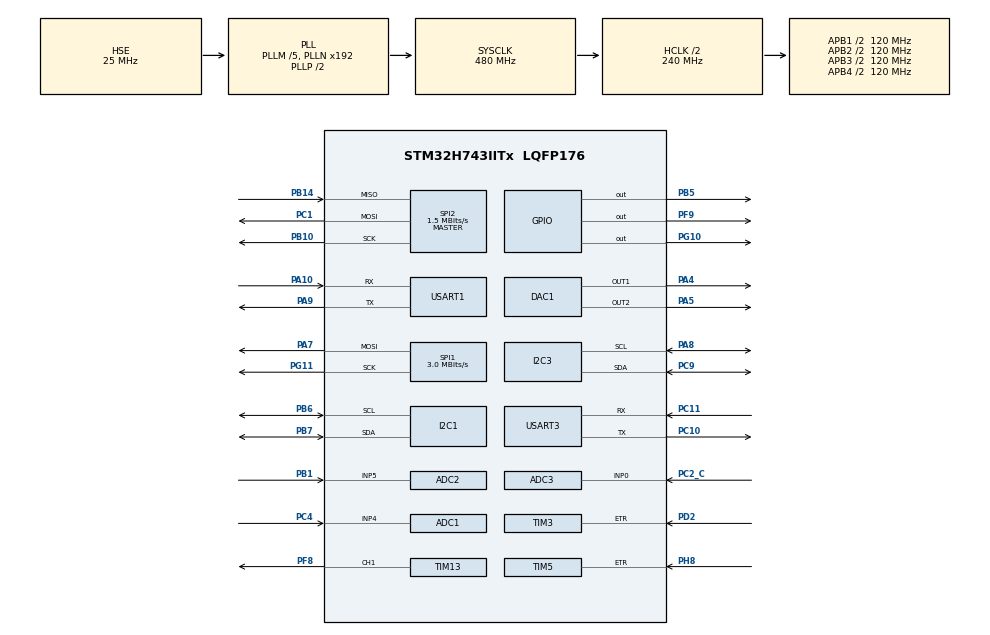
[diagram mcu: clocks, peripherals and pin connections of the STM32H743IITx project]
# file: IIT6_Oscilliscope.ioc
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ADC1.Channel-1\#ChannelRegularConversion=ADC_CHANNEL_4
ADC1.ClockPrescaler=ADC_CLOCK_ASYNC_DIV2
ADC1.ConversionDataManagement=ADC_CONVERSIONDATA_DMA_ONESHOT
ADC1.ExternalTrigConv=ADC_EXTERNALTRIG_T4_TRGO
ADC1.NbrOfConversionFlag=1
ADC1.OffsetNumber-1\#ChannelRegularConversion=ADC_OFFSET_NONE
ADC1.OffsetSignedSaturation-1\#ChannelRegularConversion=DISABLE
ADC1.Rank-1\#ChannelRegularConversion=1
ADC1.SamplingTime-1\#ChannelRegularConversion=ADC_SAMPLETIME_1CYCLE_5
ADC1.master=1
ADC2.Channel-4\#ChannelRegularConversion=ADC_CHANNEL_5
ADC2.ClockPrescaler=ADC_CLOCK_ASYNC_DIV2
ADC2.ConversionDataManagement=ADC_CONVERSIONDATA_DMA_ONESHOT
ADC2.ExternalTrigConv=ADC_EXTERNALTRIG_T4_TRGO
ADC2.NbrOfConversionFlag=1
ADC2.OffsetNumber-4\#ChannelRegularConversion=ADC_OFFSET_NONE
ADC2.OffsetSignedSaturation-4\#ChannelRegularConversion=DISABLE
ADC2.Rank-4\#ChannelRegularConversion=1
ADC2.SamplingTime-4\#ChannelRegularConversion=ADC_SAMPLETIME_1CYCLE_5
ADC3.Channel-0\#ChannelRegularConversion=ADC_CHANNEL_0
ADC3.NbrOfConversionFlag=1
ADC3.OffsetNumber-0\#ChannelRegularConversion=ADC_OFFSET_NONE
ADC3.OffsetSignedSaturation-0\#ChannelRegularConversion=DISABLE
ADC3.Rank-0\#ChannelRegularConversion=1
ADC3.SamplingTime-0\#ChannelRegularConversion=ADC_SAMPLETIME_1CYCLE_5
CORTEX_M7.default_mode_Activation=1
DAC1.DAC1_OutputBuffer-DAC_OUT1=DAC_OUTPUTBUFFER_DISABLE
DAC1.DAC2_OutputBuffer-DAC_OUT2=DAC_OUTPUTBUFFER_DISABLE
DAC1.DAC_Channel-DAC_OUT1=DAC_CHANNEL_1
DAC1.DAC_Channel-DAC_OUT2=DAC_CHANNEL_2
DAC1.DAC_Trigger-DAC_OUT1=DAC_TRIGGER_T6_TRGO
DAC1.DAC_Trigger-DAC_OUT2=DAC_TRIGGER_T7_TRGO
Dma.ADC1.2.Direction=DMA_PERIPH_TO_MEMORY
Dma.ADC1.2.EventEnable=DISABLE
Dma.ADC1.2.FIFOMode=DMA_FIFOMODE_DISABLE
Dma.ADC1.2.Instance=DMA1_Stream2
Dma.ADC1.2.MemDataAlignment=DMA_MDATAALIGN_HALFWORD
Dma.ADC1.2.MemInc=DMA_MINC_ENABLE
Dma.ADC1.2.Mode=DMA_NORMAL
Dma.ADC1.2.PeriphDataAlignment=DMA_PDATAALIGN_HALFWORD
Dma.ADC1.2.PeriphInc=DMA_PINC_DISABLE
Dma.ADC1.2.Polarity=HAL_DMAMUX_REQ_GEN_RISING
Dma.ADC1.2.Priority=DMA_PRIORITY_LOW
Dma.ADC1.2.RequestNumber=1
Dma.ADC1.2.SignalID=NONE
Dma.ADC1.2.SyncEnable=DISABLE
Dma.ADC1.2.SyncPolarity=HAL_DMAMUX_SYNC_NO_EVENT
Dma.ADC1.2.SyncRequestNumber=1
Dma.ADC1.2.SyncSignalID=NONE
Dma.ADC2.3.Direction=DMA_PERIPH_TO_MEMORY
Dma.ADC2.3.EventEnable=DISABLE
Dma.ADC2.3.FIFOMode=DMA_FIFOMODE_DISABLE
Dma.ADC2.3.Instance=DMA1_Stream3
Dma.ADC2.3.MemDataAlignment=DMA_MDATAALIGN_HALFWORD
Dma.ADC2.3.MemInc=DMA_MINC_ENABLE
Dma.ADC2.3.Mode=DMA_NORMAL
Dma.ADC2.3.PeriphDataAlignment=DMA_PDATAALIGN_HALFWORD
Dma.ADC2.3.PeriphInc=DMA_PINC_DISABLE
Dma.ADC2.3.Polarity=HAL_DMAMUX_REQ_GEN_RISING
Dma.ADC2.3.Priority=DMA_PRIORITY_LOW
Dma.ADC2.3.RequestNumber=1
Dma.ADC2.3.SignalID=NONE
Dma.ADC2.3.SyncEnable=DISABLE
Dma.ADC2.3.SyncPolarity=HAL_DMAMUX_SYNC_NO_EVENT
Dma.ADC2.3.SyncRequestNumber=1
Dma.ADC2.3.SyncSignalID=NONE
Dma.DAC1_CH1.0.Direction=DMA_MEMORY_TO_PERIPH
Dma.DAC1_CH1.0.EventEnable=DISABLE
Dma.DAC1_CH1.0.FIFOMode=DMA_FIFOMODE_ENABLE
Dma.DAC1_CH1.0.FIFOThreshold=DMA_FIFO_THRESHOLD_FULL
Dma.DAC1_CH1.0.Instance=DMA1_Stream0
Dma.DAC1_CH1.0.MemBurst=DMA_MBURST_SINGLE
Dma.DAC1_CH1.0.MemDataAlignment=DMA_MDATAALIGN_HALFWORD
Dma.DAC1_CH1.0.MemInc=DMA_MINC_ENABLE
Dma.DAC1_CH1.0.Mode=DMA_CIRCULAR
Dma.DAC1_CH1.0.PeriphBurst=DMA_PBURST_SINGLE
Dma.DAC1_CH1.0.PeriphDataAlignment=DMA_PDATAALIGN_HALFWORD
Dma.DAC1_CH1.0.PeriphInc=DMA_PINC_DISABLE
Dma.DAC1_CH1.0.Polarity=HAL_DMAMUX_REQ_GEN_RISING
Dma.DAC1_CH1.0.Priority=DMA_PRIORITY_LOW
Dma.DAC1_CH1.0.RequestNumber=1
Dma.DAC1_CH1.0.SignalID=NONE
Dma.DAC1_CH1.0.SyncEnable=DISABLE
Dma.DAC1_CH1.0.SyncPolarity=HAL_DMAMUX_SYNC_NO_EVENT
Dma.DAC1_CH1.0.SyncRequestNumber=1
Dma.DAC1_CH1.0.SyncSignalID=NONE
Dma.DAC1_CH2.1.Direction=DMA_MEMORY_TO_PERIPH
Dma.DAC1_CH2.1.EventEnable=DISABLE
Dma.DAC1_CH2.1.FIFOMode=DMA_FIFOMODE_ENABLE
Dma.DAC1_CH2.1.FIFOThreshold=DMA_FIFO_THRESHOLD_FULL
Dma.DAC1_CH2.1.Instance=DMA1_Stream1
Dma.DAC1_CH2.1.MemBurst=DMA_MBURST_SINGLE
Dma.DAC1_CH2.1.MemDataAlignment=DMA_MDATAALIGN_HALFWORD
Dma.DAC1_CH2.1.MemInc=DMA_MINC_ENABLE
Dma.DAC1_CH2.1.Mode=DMA_CIRCULAR
Dma.DAC1_CH2.1.PeriphBurst=DMA_PBURST_SINGLE
Dma.DAC1_CH2.1.PeriphDataAlignment=DMA_PDATAALIGN_HALFWORD
Dma.DAC1_CH2.1.PeriphInc=DMA_PINC_DISABLE
Dma.DAC1_CH2.1.Polarity=HAL_DMAMUX_REQ_GEN_RISING
Dma.DAC1_CH2.1.Priority=DMA_PRIORITY_LOW
Dma.DAC1_CH2.1.RequestNumber=1
Dma.DAC1_CH2.1.SignalID=NONE
Dma.DAC1_CH2.1.SyncEnable=DISABLE
Dma.DAC1_CH2.1.SyncPolarity=HAL_DMAMUX_SYNC_NO_EVENT
Dma.DAC1_CH2.1.SyncRequestNumber=1
Dma.DAC1_CH2.1.SyncSignalID=NONE
Dma.Request0=DAC1_CH1
Dma.Request1=DAC1_CH2
Dma.Request2=ADC1
Dma.Request3=ADC2
Dma.Request4=USART1_TX
Dma.Request5=USART1_RX
Dma.USART1_RX.5.Direction=DMA_PERIPH_TO_MEMORY
Dma.USART1_RX.5.EventEnable=DISABLE
Dma.USART1_RX.5.FIFOMode=DMA_FIFOMODE_ENABLE
Dma.USART1_RX.5.FIFOThreshold=DMA_FIFO_THRESHOLD_FULL
Dma.USART1_RX.5.Instance=DMA1_Stream5
Dma.USART1_RX.5.MemBurst=DMA_MBURST_SINGLE
Dma.USART1_RX.5.MemDataAlignment=DMA_MDATAALIGN_BYTE
Dma.USART1_RX.5.MemInc=DMA_MINC_ENABLE
Dma.USART1_RX.5.Mode=DMA_NORMAL
Dma.USART1_RX.5.PeriphBurst=DMA_PBURST_SINGLE
Dma.USART1_RX.5.PeriphDataAlignment=DMA_PDATAALIGN_BYTE
Dma.USART1_RX.5.PeriphInc=DMA_PINC_DISABLE
Dma.USART1_RX.5.Polarity=HAL_DMAMUX_REQ_GEN_RISING
Dma.USART1_RX.5.Priority=DMA_PRIORITY_HIGH
Dma.USART1_RX.5.RequestNumber=1
Dma.USART1_RX.5.SignalID=NONE
Dma.USART1_RX.5.SyncEnable=DISABLE
Dma.USART1_RX.5.SyncPolarity=HAL_DMAMUX_SYNC_NO_EVENT
Dma.USART1_RX.5.SyncRequestNumber=1
Dma.USART1_RX.5.SyncSignalID=NONE
Dma.USART1_TX.4.Direction=DMA_MEMORY_TO_PERIPH
Dma.USART1_TX.4.EventEnable=DISABLE
Dma.USART1_TX.4.FIFOMode=DMA_FIFOMODE_ENABLE
Dma.USART1_TX.4.FIFOThreshold=DMA_FIFO_THRESHOLD_FULL
Dma.USART1_TX.4.Instance=DMA1_Stream4
Dma.USART1_TX.4.MemBurst=DMA_MBURST_SINGLE
Dma.USART1_TX.4.MemDataAlignment=DMA_MDATAALIGN_BYTE
Dma.USART1_TX.4.MemInc=DMA_MINC_ENABLE
Dma.USART1_TX.4.Mode=DMA_NORMAL
Dma.USART1_TX.4.PeriphBurst=DMA_PBURST_SINGLE
Dma.USART1_TX.4.PeriphDataAlignment=DMA_PDATAALIGN_BYTE
Dma.USART1_TX.4.PeriphInc=DMA_PINC_DISABLE
Dma.USART1_TX.4.Polarity=HAL_DMAMUX_REQ_GEN_RISING
Dma.USART1_TX.4.Priority=DMA_PRIORITY_HIGH
Dma.USART1_TX.4.RequestNumber=1
Dma.USART1_TX.4.SignalID=NONE
Dma.USART1_TX.4.SyncEnable=DISABLE
Dma.USART1_TX.4.SyncPolarity=HAL_DMAMUX_SYNC_NO_EVENT
Dma.USART1_TX.4.SyncRequestNumber=1
Dma.USART1_TX.4.SyncSignalID=NONE
I2C1.Timing=0x307075B1
I2C3.Timing=0x307075B1
Mcu.Family=STM32H7
Mcu.Name=STM32H743IITx
Mcu.Package=LQFP176
NVIC.DMA1_Stream0_IRQn=true\:0\:0\:false\:false\:true\:false\:true\:true
NVIC.DMA1_Stream1_IRQn=true\:0\:0\:false\:false\:true\:false\:true\:true
NVIC.DMA1_Stream2_IRQn=true\:0\:0\:false\:false\:true\:false\:true\:true
NVIC.DMA1_Stream3_IRQn=true\:0\:0\:false\:false\:true\:false\:true\:true
NVIC.DMA1_Stream4_IRQn=true\:0\:0\:false\:false\:true\:false\:true\:true
NVIC.DMA1_Stream5_IRQn=true\:0\:0\:false\:false\:true\:false\:true\:true
NVIC.PriorityGroup=NVIC_PRIORITYGROUP_4
NVIC.TIM8_UP_TIM13_IRQn=true\:15\:0\:false\:false\:true\:false\:true\:true
NVIC.USART1_IRQn=true\:0\:0\:false\:false\:true\:true\:true\:true
PA10.Mode=Asynchronous
PA10.Signal=USART1_RX
PA13\ (JTMS/SWDIO).Mode=Serial_Wire
PA13\ (JTMS/SWDIO).Signal=DEBUG_JTMS-SWDIO
PA14\ (JTCK/SWCLK).Mode=Serial_Wire
PA14\ (JTCK/SWCLK).Signal=DEBUG_JTCK-SWCLK
PA4.Signal=COMP_DAC11_group
PA5.Signal=COMP_DAC12_group
PA7.Mode=TX_Only_Simplex_Unidirect_Master
PA7.Signal=SPI1_MOSI
PA8.Mode=I2C
PA8.Signal=I2C3_SCL
PA9.Mode=Asynchronous
PA9.Signal=USART1_TX
PB1.Signal=ADCx_INP5
PB10.Mode=Full_Duplex_Master
PB10.Signal=SPI2_SCK
PB14.Mode=Full_Duplex_Master
PB14.Signal=SPI2_MISO
PB5.GPIO_PuPd=GPIO_PULLUP
PB5.PinState=GPIO_PIN_SET
PB5.Signal=GPIO_Output
PB6.Mode=I2C
PB6.Signal=I2C1_SCL
PB7.Mode=I2C
PB7.Signal=I2C1_SDA
PC1.Mode=Full_Duplex_Master
PC1.Signal=SPI2_MOSI
PC10.Mode=Asynchronous
PC10.Signal=USART3_TX
PC11.Mode=Asynchronous
PC11.Signal=USART3_RX
PC14-OSC32_IN\ (OSC32_IN).Mode=LSE-External-Oscillator
PC14-OSC32_IN\ (OSC32_IN).Signal=RCC_OSC32_IN
PC15-OSC32_OUT\ (OSC32_OUT).Mode=LSE-External-Oscillator
PC15-OSC32_OUT\ (OSC32_OUT).Signal=RCC_OSC32_OUT
PC2_C.Mode=IN0-Single-Ended
PC2_C.Signal=ADC3_INP0
PC4.Signal=ADCx_INP4
PC9.Mode=I2C
PC9.Signal=I2C3_SDA
PD2.Signal=S_TIM3_ETR
PF8.Signal=S_TIM13_CH1
PF9.PinState=GPIO_PIN_SET
PF9.Signal=GPIO_Output
PG10.GPIO_PuPd=GPIO_PULLDOWN
PG10.Signal=GPIO_Output
PG11.Mode=TX_Only_Simplex_Unidirect_Master
PG11.Signal=SPI1_SCK
PH0-OSC_IN\ (PH0).Mode=HSE-External-Oscillator
PH0-OSC_IN\ (PH0).Signal=RCC_OSC_IN
PH1-OSC_OUT\ (PH1).Mode=HSE-External-Oscillator
PH1-OSC_OUT\ (PH1).Signal=RCC_OSC_OUT
PH8.Signal=S_TIM5_ETR
ProjectManager.HeapSize=0x200
ProjectManager.StackSize=0x400
ProjectManager.TargetToolchain=CMake
RCC.ADCFreq_Value=75000000
RCC.APB1Freq_Value=120000000
RCC.APB2Freq_Value=120000000
RCC.APB3Freq_Value=120000000
RCC.APB4Freq_Value=120000000
RCC.CortexFreq_Value=480000000
RCC.D1PPRE=RCC_APB3_DIV2
RCC.D2PPRE1=RCC_APB1_DIV2
RCC.D2PPRE2=RCC_APB2_DIV2
RCC.D3PPRE=RCC_APB4_DIV2
RCC.DIVM1=5
RCC.DIVM2=2
RCC.DIVN1=192
RCC.DIVN2=12
RCC.DIVQ1=5
RCC.HCLKFreq_Value=240000000
RCC.HPRE=RCC_HCLK_DIV2
RCC.PLL2FRACN=0
RCC.PLLFRACN=0
RCC.PLLSourceVirtual=RCC_PLLSOURCE_HSE
RCC.SYSCLKFreq_VALUE=480000000
RCC.SYSCLKSource=RCC_SYSCLKSOURCE_PLLCLK
RCC.USBFreq_Value=192000000
SH.ADCx_INP4.0=ADC1_INP4,IN4-Single-Ended
SH.ADCx_INP5.0=ADC2_INP5,IN5-Single-Ended
SH.COMP_DAC11_group.0=DAC1_OUT1,DAC_OUT1
SH.COMP_DAC12_group.0=DAC1_OUT2,DAC_OUT2
SH.S_TIM13_CH1.0=TIM13_CH1,PWM Generation1 CH1
SH.S_TIM3_ETR.0=TIM3_ETR,ClockSourceETR_Mode2
SH.S_TIM5_ETR.0=TIM5_ETR,ClockSourceETR_Mode2
SPI1.BaudRatePrescaler=SPI_BAUDRATEPRESCALER_64
SPI1.CLKPhase=SPI_PHASE_2EDGE
SPI1.CLKPolarity=SPI_POLARITY_HIGH
SPI1.CalculateBaudRate=3.0 MBits/s
SPI1.DataSize=SPI_DATASIZE_8BIT
SPI1.Direction=SPI_DIRECTION_2LINES_TXONLY
SPI1.Mode=SPI_MODE_MASTER
SPI1.VirtualType=VM_MASTER
SPI2.BaudRatePrescaler=SPI_BAUDRATEPRESCALER_128
SPI2.CalculateBaudRate=1.5 MBits/s
SPI2.DataSize=SPI_DATASIZE_8BIT
SPI2.Direction=SPI_DIRECTION_2LINES
SPI2.Mode=SPI_MODE_MASTER
SPI2.NSSPMode=SPI_NSS_PULSE_DISABLE
SPI2.VirtualType=VM_MASTER
STMicroelectronics.X-CUBE-ALGOBUILD.1.4.0.LibraryCcDSPOoLibraryJjDSPOoLibrary=true
TIM13.Channel=TIM_CHANNEL_1
TIM13.Period=9
TIM13.Prescaler=23
TIM13.Pulse=5
TIM4.Period=100-1
TIM4.Prescaler=240-1
TIM4.TIM_MasterOutputTrigger=TIM_TRGO_UPDATE
TIM6.Period=9
TIM6.Prescaler=23
TIM6.TIM_MasterOutputTrigger=TIM_TRGO_UPDATE
TIM7.Period=9
TIM7.Prescaler=23
TIM7.TIM_MasterOutputTrigger=TIM_TRGO_UPDATE
USART1.VirtualMode-Asynchronous=VM_ASYNC
USART3.VirtualMode-Asynchronous=VM_ASYNC
VP_MEMORYMAP_VS_MEMORYMAP.Mode=CurAppReg
VP_STMicroelectronics.X-CUBE-ALGOBUILD_VS_DSPOoLibraryJjLibrary_1.4.0_1.4.0.Mode=DSPOoLibraryJjLibrary
VP_TIM13_VS_ClockSourceINT.Mode=Enable_Timer
VP_TIM2_VS_ClockSourceINT.Mode=Internal
VP_TIM4_VS_ClockSourceINT.Mode=Internal
VP_TIM6_VS_ClockSourceINT.Mode=Enable_Timer
VP_TIM7_VS_ClockSourceINT.Mode=Enable_Timer
board=custom

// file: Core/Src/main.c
/* USER CODE BEGIN Header */
/**
  ******************************************************************************
  * @file           : main.c
  * @brief          : Main program body
  ******************************************************************************
  * @attention
  *
  * Copyright (c) 2026 STMicroelectronics.
  * All rights reserved.
  *
  * This software is licensed under terms that can be found in the LICENSE file
  * in the root directory of this software component.
  * If no LICENSE file comes with this software, it is provided AS-IS.
  *
  ******************************************************************************
  */
/* USER CODE END Header */
#include "main.h"
#include "adc.h"
#include "dac.h"
#include "dma.h"
#include "i2c.h"
#include "memorymap.h"
#include "spi.h"
#include "tim.h"
#include "usart.h"
#include "gpio.h"

/* USER CODE BEGIN Includes */
#include "app_profile.h"
#include "dac_dds.h"

#include "si5351.h" // Include SI5351 driver
#include "ad9833_hal.h"
#include "adc_capture.h"
#include "measure.h" // ADDED: include Measure for Goertzel functions
#include "timebase_driver.h"
#include "dpll_service.h"
#include <stdio.h>
#include <string.h>
#include <math.h>
/* USER CODE END Includes */

void SystemClock_Config(void);
void PeriphCommonClock_Config(void);
static void MPU_Config(void);
/* USER CODE BEGIN PFP */
#include "usart_driver.h"
extern void CMD_Init(void);
extern void FFT_Init(void);
extern void UART_Poll(void);
extern void CMD_Poll(void);
extern void ADC_Poll(void);
extern void FFT_Poll(void);
/* USER CODE END PFP */

int main(void)
{

  /* MPU Configuration--------------------------------------------------------*/
  MPU_Config();

  /* MCU Configuration--------------------------------------------------------*/

  /* Reset of all peripherals, Initializes the Flash interface and the Systick. */
  HAL_Init();

  /* Configure the system clock */
  SystemClock_Config();

  /* Configure the peripherals common clocks */
  PeriphCommonClock_Config();

  /* Initialize all configured peripherals */
  MX_GPIO_Init();
  MX_DMA_Init();
  MX_DAC1_Init();
  MX_TIM6_Init();
  MX_TIM7_Init();
  MX_USART1_UART_Init();
  MX_TIM3_Init();
  MX_ADC1_Init();
  MX_TIM4_Init();
  MX_ADC2_Init();
  MX_TIM13_Init();
  MX_I2C1_Init();
  MX_SPI1_Init();
  MX_ADC3_Init();
  MX_I2C3_Init();
  MX_SPI2_Init();
  MX_TIM2_Init();
  MX_TIM5_Init();
  MX_USART3_UART_Init();
  /* USER CODE BEGIN 2 */

  /* Run ADC Calibration for all ADCs used (3.3V VREF+) */
  HAL_ADCEx_Calibration_Start(&hadc1, ADC_CALIB_OFFSET, ADC_SINGLE_ENDED);
  HAL_ADCEx_Calibration_Start(&hadc2, ADC_CALIB_OFFSET, ADC_SINGLE_ENDED);
  HAL_ADCEx_Calibration_Start(&hadc3, ADC_CALIB_OFFSET, ADC_SINGLE_ENDED);

  USART_Driver_Init(&huart1);
  USART_Driver_Init(&huart3);

  setvbuf(stdout, NULL, _IONBF, 0);
  Timebase_Driver_Init();
  DPLL_Service_Init();
  printf("\r\n\r\n====== BOOTING ======\r\n");

  // Select and Initialize Profile
  App_SelectProfile(PROFILE_SIGNAL_ANALYSIS);
  App_Init();

  /* AD9833 Output Test: 1kHz sine with amplitude and phase control */
  // AD9833_Init();
  // AD9833_SetAmplitude(200);
  // AD9833_SetPhase(PHASE_REG_0, 180.0f);
  // AD9833_SetFixedOutput(10000, WAVE_SINE);

  /* SI5351 Output Test */
  // si5351_Init();
  // si5351_set_freq(2, 409600); // 10.240 KHz output using robust dynamic fraction/r_div calculate

  /* USER CODE END 2 */

  /* Infinite loop */
  /* USER CODE BEGIN WHILE */
  while (1)
  {
      App_Poll();
    /* USER CODE END WHILE */

  }
}

void SystemClock_Config(void)
{
  RCC_OscInitTypeDef RCC_OscInitStruct = {0};
  RCC_ClkInitTypeDef RCC_ClkInitStruct = {0};

  /** Supply configuration update enable
  */
  HAL_PWREx_ConfigSupply(PWR_LDO_SUPPLY);

  /** Configure the main internal regulator output voltage
  */
  __HAL_PWR_VOLTAGESCALING_CONFIG(PWR_REGULATOR_VOLTAGE_SCALE0);

  while(!__HAL_PWR_GET_FLAG(PWR_FLAG_VOSRDY)) {}

  /** Initializes the RCC Oscillators according to the specified parameters
  * in the RCC_OscInitTypeDef structure.
  */
  RCC_OscInitStruct.OscillatorType = RCC_OSCILLATORTYPE_HSE;
  RCC_OscInitStruct.HSEState = RCC_HSE_ON;
  RCC_OscInitStruct.PLL.PLLState = RCC_PLL_ON;
  RCC_OscInitStruct.PLL.PLLSource = RCC_PLLSOURCE_HSE;
  RCC_OscInitStruct.PLL.PLLM = 5;
  RCC_OscInitStruct.PLL.PLLN = 192;
  RCC_OscInitStruct.PLL.PLLP = 2;
  RCC_OscInitStruct.PLL.PLLQ = 5;
  RCC_OscInitStruct.PLL.PLLR = 2;
  RCC_OscInitStruct.PLL.PLLRGE = RCC_PLL1VCIRANGE_2;
  RCC_OscInitStruct.PLL.PLLVCOSEL = RCC_PLL1VCOWIDE;
  RCC_OscInitStruct.PLL.PLLFRACN = 0;
  if (HAL_RCC_OscConfig(&RCC_OscInitStruct) != HAL_OK)
  {
    Error_Handler();
  }

  /** Initializes the CPU, AHB and APB buses clocks
  */
  RCC_ClkInitStruct.ClockType = RCC_CLOCKTYPE_HCLK|RCC_CLOCKTYPE_SYSCLK
                              |RCC_CLOCKTYPE_PCLK1|RCC_CLOCKTYPE_PCLK2
                              |RCC_CLOCKTYPE_D3PCLK1|RCC_CLOCKTYPE_D1PCLK1;
  RCC_ClkInitStruct.SYSCLKSource = RCC_SYSCLKSOURCE_PLLCLK;
  RCC_ClkInitStruct.SYSCLKDivider = RCC_SYSCLK_DIV1;
  RCC_ClkInitStruct.AHBCLKDivider = RCC_HCLK_DIV2;
  RCC_ClkInitStruct.APB3CLKDivider = RCC_APB3_DIV2;
  RCC_ClkInitStruct.APB1CLKDivider = RCC_APB1_DIV2;
  RCC_ClkInitStruct.APB2CLKDivider = RCC_APB2_DIV2;
  RCC_ClkInitStruct.APB4CLKDivider = RCC_APB4_DIV2;

  if (HAL_RCC_ClockConfig(&RCC_ClkInitStruct, FLASH_LATENCY_4) != HAL_OK)
  {
    Error_Handler();
  }
}

void PeriphCommonClock_Config(void)
{
  RCC_PeriphCLKInitTypeDef PeriphClkInitStruct = {0};

  /** Initializes the peripherals clock
  */
  PeriphClkInitStruct.PeriphClockSelection = RCC_PERIPHCLK_ADC;
  PeriphClkInitStruct.PLL2.PLL2M = 2;
  PeriphClkInitStruct.PLL2.PLL2N = 12;
  PeriphClkInitStruct.PLL2.PLL2P = 2;
  PeriphClkInitStruct.PLL2.PLL2Q = 2;
  PeriphClkInitStruct.PLL2.PLL2R = 2;
  PeriphClkInitStruct.PLL2.PLL2RGE = RCC_PLL2VCIRANGE_3;
  PeriphClkInitStruct.PLL2.PLL2VCOSEL = RCC_PLL2VCOMEDIUM;
  PeriphClkInitStruct.PLL2.PLL2FRACN = 0;
  PeriphClkInitStruct.AdcClockSelection = RCC_ADCCLKSOURCE_PLL2;
  if (HAL_RCCEx_PeriphCLKConfig(&PeriphClkInitStruct) != HAL_OK)
  {
    Error_Handler();
  }
}

/* USER CODE BEGIN 4 */
int _write(int file, char *ptr, int len) {
    HAL_UART_Transmit(&huart1, (uint8_t*)ptr, len, HAL_MAX_DELAY);
    return len;
}
/* USER CODE END 4 */

 /* MPU Configuration */

void MPU_Config(void)
{
  MPU_Region_InitTypeDef MPU_InitStruct = {0};

  /* Disables the MPU */
  HAL_MPU_Disable();

  /** Initializes and configures the Region and the memory to be protected
  */
  MPU_InitStruct.Enable = MPU_REGION_ENABLE;
  MPU_InitStruct.Number = MPU_REGION_NUMBER0;
  MPU_InitStruct.BaseAddress = 0x0;
  MPU_InitStruct.Size = MPU_REGION_SIZE_4GB;
  MPU_InitStruct.SubRegionDisable = 0x87;
  MPU_InitStruct.TypeExtField = MPU_TEX_LEVEL0;
  MPU_InitStruct.AccessPermission = MPU_REGION_NO_ACCESS;
  MPU_InitStruct.DisableExec = MPU_INSTRUCTION_ACCESS_DISABLE;
  MPU_InitStruct.IsShareable = MPU_ACCESS_SHAREABLE;
  MPU_InitStruct.IsCacheable = MPU_ACCESS_NOT_CACHEABLE;
  MPU_InitStruct.IsBufferable = MPU_ACCESS_NOT_BUFFERABLE;

  HAL_MPU_ConfigRegion(&MPU_InitStruct);
  /* Enables the MPU */
  HAL_MPU_Enable(MPU_PRIVILEGED_DEFAULT);

}

void Error_Handler(void)
{
  __disable_irq();
  while (1)
  {
  }
}
